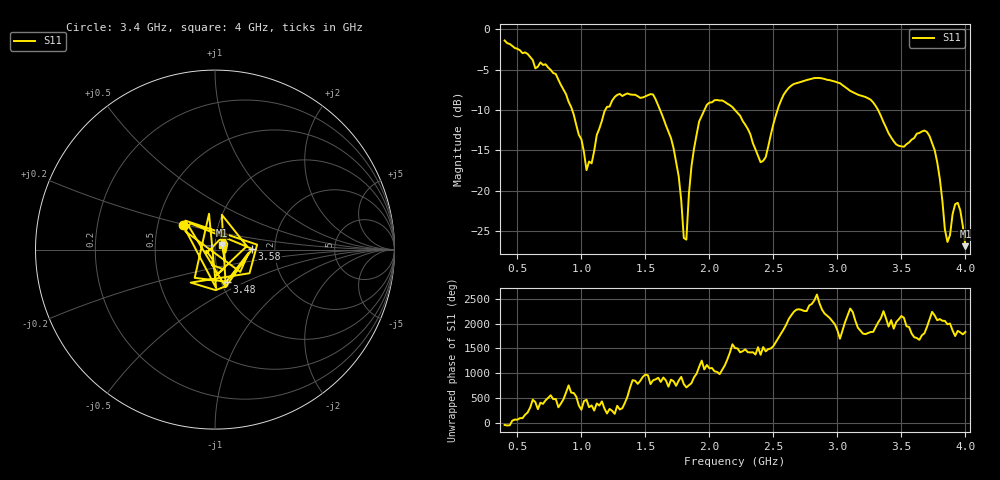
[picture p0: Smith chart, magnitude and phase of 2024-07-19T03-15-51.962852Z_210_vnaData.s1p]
!Created with skrf (http://scikit-rf.org).
# Hz S RI R 50.0
!freq ReS11 ImS11
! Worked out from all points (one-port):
!   181 points, 400 MHz to 4 GHz, reference 50 ohm
!   lowest |S11| = -26.9 dB at 4 GHz (marker M1), VSWR 1.09, Z = 53.8 + j2.72 ohm
!   |S11| at or under -10 dB: 1.615 GHz to 1.96 GHz (345.2 MHz wide, 19.3 % of centre); 2.2 GHz to 2.532 GHz (331.9 MHz wide, 14 % of centre); 3.318 GHz to end of sweep (the widest 3 of 4)
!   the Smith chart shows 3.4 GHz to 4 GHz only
!   S11 on the Smith chart (normalised r, x): 3.4 GHz: 0.67, +0.20; 3.48 GHz: 1.06, -0.39; 3.58 GHz: 1.52, +0.01; 4 GHz: 1.08, +0.05
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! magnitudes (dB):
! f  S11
! 400 MHz  -1.4
! 860 MHz  -7.5
! 1.04 GHz  -17.4
! 1.18 GHz  -10.2
! 1.3 GHz  -8.0
! 1.56 GHz  -8.1
! 1.7 GHz  -13.5
! 1.76 GHz  -18.2
! 1.8 GHz  -25.9
! 1.82 GHz  -26.1
! 1.86 GHz  -16.9
! 1.92 GHz  -11.4
! 2.04 GHz  -8.8
! 2.2 GHz  -10.0
! 2.4 GHz  -16.5
! 2.56 GHz  -8.8
! 2.66 GHz  -6.8
! 3.1 GHz  -7.6
! 3.26 GHz  -8.7
! 3.4 GHz  -12.9
! 3.48 GHz  -14.4
! 3.56 GHz  -14.0
! 3.58 GHz  -13.7
! 3.72 GHz  -13.2
! 3.78 GHz  -16.5
! 3.86 GHz  -26.3
! 3.94 GHz  -21.5
! 4 GHz  -26.9
